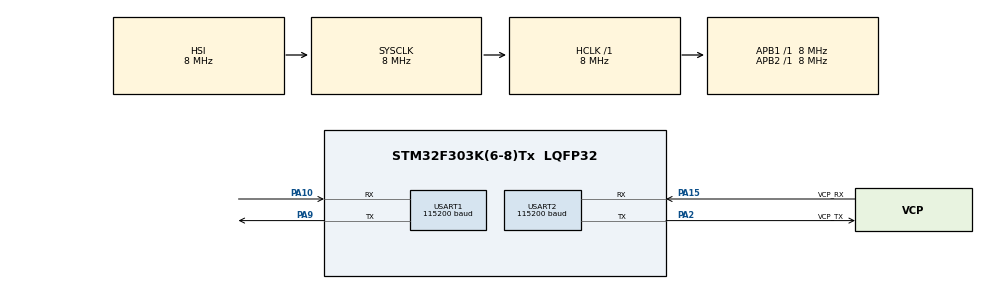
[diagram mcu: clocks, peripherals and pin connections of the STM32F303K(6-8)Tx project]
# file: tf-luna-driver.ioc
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Mcu.Family=STM32F3
Mcu.Name=STM32F303K(6-8)Tx
Mcu.Package=LQFP32
NVIC.PriorityGroup=NVIC_PRIORITYGROUP_4
PA10.Mode=Asynchronous
PA10.Signal=USART1_RX
PA13.GPIO_Label=SWDIO
PA13.Mode=Serial_Wire
PA13.Signal=SYS_JTMS-SWDIO
PA14.GPIO_Label=SWCLK
PA14.Mode=Serial_Wire
PA14.Signal=SYS_JTCK-SWCLK
PA15.GPIO_Label=VCP_RX
PA15.Mode=Asynchronous
PA15.Signal=USART2_RX
PA2.GPIO_Label=VCP_TX
PA2.Mode=Asynchronous
PA2.Signal=USART2_TX
PA9.Mode=Asynchronous
PA9.Signal=USART1_TX
PF0\ /\ OSC_IN.GPIO_Label=MCO
PF0\ /\ OSC_IN.Mode=HSE-External-Clock-Source
PF0\ /\ OSC_IN.Signal=RCC_OSC_IN
ProjectManager.HeapSize=0x200
ProjectManager.StackSize=0x400
ProjectManager.TargetToolchain=CMake
RCC.AHBFreq_Value=8000000
RCC.APB1Freq_Value=8000000
RCC.APB2Freq_Value=8000000
RCC.CortexFreq_Value=8000000
RCC.HSE_VALUE=8000000
RCC.HSI_VALUE=8000000
RCC.SYSCLKFreq_VALUE=8000000
USART1.BaudRate=115200
USART1.VirtualMode-Asynchronous=VM_ASYNC
USART2.BaudRate=115200
USART2.VirtualMode-Asynchronous=VM_ASYNC
board=NUCLEO-F303K8

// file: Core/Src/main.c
/* USER CODE BEGIN Header */
/**
  ******************************************************************************
  * @file           : main.c
  * @brief          : Main program body
  ******************************************************************************
  * @attention
  *
  * Copyright (c) 2026 STMicroelectronics.
  * All rights reserved.
  *
  * This software is licensed under terms that can be found in the LICENSE file
  * in the root directory of this software component.
  * If no LICENSE file comes with this software, it is provided AS-IS.
  *
  ******************************************************************************
  */
/* USER CODE END Header */
#include "main.h"

/* USER CODE BEGIN Includes */
#include <stdio.h>
#include "tf_luna.h"
/* USER CODE END Includes */

UART_HandleTypeDef huart1;
UART_HandleTypeDef huart2;

void SystemClock_Config(void);
static void MX_GPIO_Init(void);
static void MX_USART1_UART_Init(void);
static void MX_USART2_UART_Init(void);

int main(void)
{

  /* MCU Configuration--------------------------------------------------------*/

  /* Reset of all peripherals, Initializes the Flash interface and the Systick. */
  HAL_Init();

  /* Configure the system clock */
  SystemClock_Config();

  /* Initialize all configured peripherals */
  MX_GPIO_Init();
  MX_USART1_UART_Init();
  MX_USART2_UART_Init();
  /* USER CODE BEGIN 2 */
  char txt_buffer[80]; // Buffer para enviar el texto a la PC
  uint8_t pBuffer[9];
  uint8_t rx_byte;
  TFLuna_t sensData;
  /* USER CODE END 2 */

  /* Infinite loop */
  while (1)
  {

    /* USER CODE BEGIN 3 */
    //1.- Interceptamos el primer header (0x59) escuchando el USART1 (El del TF-Luna)
    if (HAL_UART_Receive(&huart1, &rx_byte, 1, HAL_MAX_DELAY) == HAL_OK && rx_byte == 0x59)
    {
      pBuffer[0] = 0x59;

      // 2.- Comprobamos el segundo 0x59
      if (HAL_UART_Receive(&huart1, &rx_byte, 1, 10) == HAL_OK && rx_byte == 0x59)
      {
        pBuffer[1] = 0x59;

        // 3.- Sincronizados. Leemos los 7 bytes restantes de golpe
        if (HAL_UART_Receive(&huart1, &pBuffer[2], 7, 10) == HAL_OK)
        {
          if (parse_tfluna_frame(pBuffer, &sensData) == true)
          {
            int len = sprintf(txt_buffer, "Distancia: %u cm | Saturacion: %u | Temp: %.2f C\r\n",
                              sensData.distance_cm,
                              sensData.signal_strength,
                              sensData.temperature_c);
            HAL_UART_Transmit(&huart2, (uint8_t*)txt_buffer, len, 100);
          }
        }
      }
    }
  }
  /* USER CODE END 3 */
}

void SystemClock_Config(void)
{
  RCC_OscInitTypeDef RCC_OscInitStruct = {0};
  RCC_ClkInitTypeDef RCC_ClkInitStruct = {0};
  RCC_PeriphCLKInitTypeDef PeriphClkInit = {0};

  /** Initializes the RCC Oscillators according to the specified parameters
  * in the RCC_OscInitTypeDef structure.
  */
  RCC_OscInitStruct.OscillatorType = RCC_OSCILLATORTYPE_HSI;
  RCC_OscInitStruct.HSIState = RCC_HSI_ON;
  RCC_OscInitStruct.HSICalibrationValue = RCC_HSICALIBRATION_DEFAULT;
  RCC_OscInitStruct.PLL.PLLState = RCC_PLL_NONE;
  if (HAL_RCC_OscConfig(&RCC_OscInitStruct) != HAL_OK)
  {
    Error_Handler();
  }

  /** Initializes the CPU, AHB and APB buses clocks
  */
  RCC_ClkInitStruct.ClockType = RCC_CLOCKTYPE_HCLK|RCC_CLOCKTYPE_SYSCLK
                              |RCC_CLOCKTYPE_PCLK1|RCC_CLOCKTYPE_PCLK2;
  RCC_ClkInitStruct.SYSCLKSource = RCC_SYSCLKSOURCE_HSI;
  RCC_ClkInitStruct.AHBCLKDivider = RCC_SYSCLK_DIV1;
  RCC_ClkInitStruct.APB1CLKDivider = RCC_HCLK_DIV1;
  RCC_ClkInitStruct.APB2CLKDivider = RCC_HCLK_DIV1;

  if (HAL_RCC_ClockConfig(&RCC_ClkInitStruct, FLASH_LATENCY_0) != HAL_OK)
  {
    Error_Handler();
  }
  PeriphClkInit.PeriphClockSelection = RCC_PERIPHCLK_USART1;
  PeriphClkInit.Usart1ClockSelection = RCC_USART1CLKSOURCE_PCLK1;
  if (HAL_RCCEx_PeriphCLKConfig(&PeriphClkInit) != HAL_OK)
  {
    Error_Handler();
  }
}

static void MX_USART1_UART_Init(void)
{

  huart1.Instance = USART1;
  huart1.Init.BaudRate = 115200;
  huart1.Init.WordLength = UART_WORDLENGTH_8B;
  huart1.Init.StopBits = UART_STOPBITS_1;
  huart1.Init.Parity = UART_PARITY_NONE;
  huart1.Init.Mode = UART_MODE_TX_RX;
  huart1.Init.HwFlowCtl = UART_HWCONTROL_NONE;
  huart1.Init.OverSampling = UART_OVERSAMPLING_16;
  huart1.Init.OneBitSampling = UART_ONE_BIT_SAMPLE_DISABLE;
  huart1.AdvancedInit.AdvFeatureInit = UART_ADVFEATURE_NO_INIT;
  if (HAL_UART_Init(&huart1) != HAL_OK)
  {
    Error_Handler();
  }

}

static void MX_USART2_UART_Init(void)
{

  huart2.Instance = USART2;
  huart2.Init.BaudRate = 115200;
  huart2.Init.WordLength = UART_WORDLENGTH_8B;
  huart2.Init.StopBits = UART_STOPBITS_1;
  huart2.Init.Parity = UART_PARITY_NONE;
  huart2.Init.Mode = UART_MODE_TX_RX;
  huart2.Init.HwFlowCtl = UART_HWCONTROL_NONE;
  huart2.Init.OverSampling = UART_OVERSAMPLING_16;
  huart2.Init.OneBitSampling = UART_ONE_BIT_SAMPLE_DISABLE;
  huart2.AdvancedInit.AdvFeatureInit = UART_ADVFEATURE_NO_INIT;
  if (HAL_UART_Init(&huart2) != HAL_OK)
  {
    Error_Handler();
  }

}

static void MX_GPIO_Init(void)
{

  /* GPIO Ports Clock Enable */
  __HAL_RCC_GPIOF_CLK_ENABLE();
  __HAL_RCC_GPIOA_CLK_ENABLE();

}

void Error_Handler(void)
{
  __disable_irq();
  while (1)
  {
  }
}
